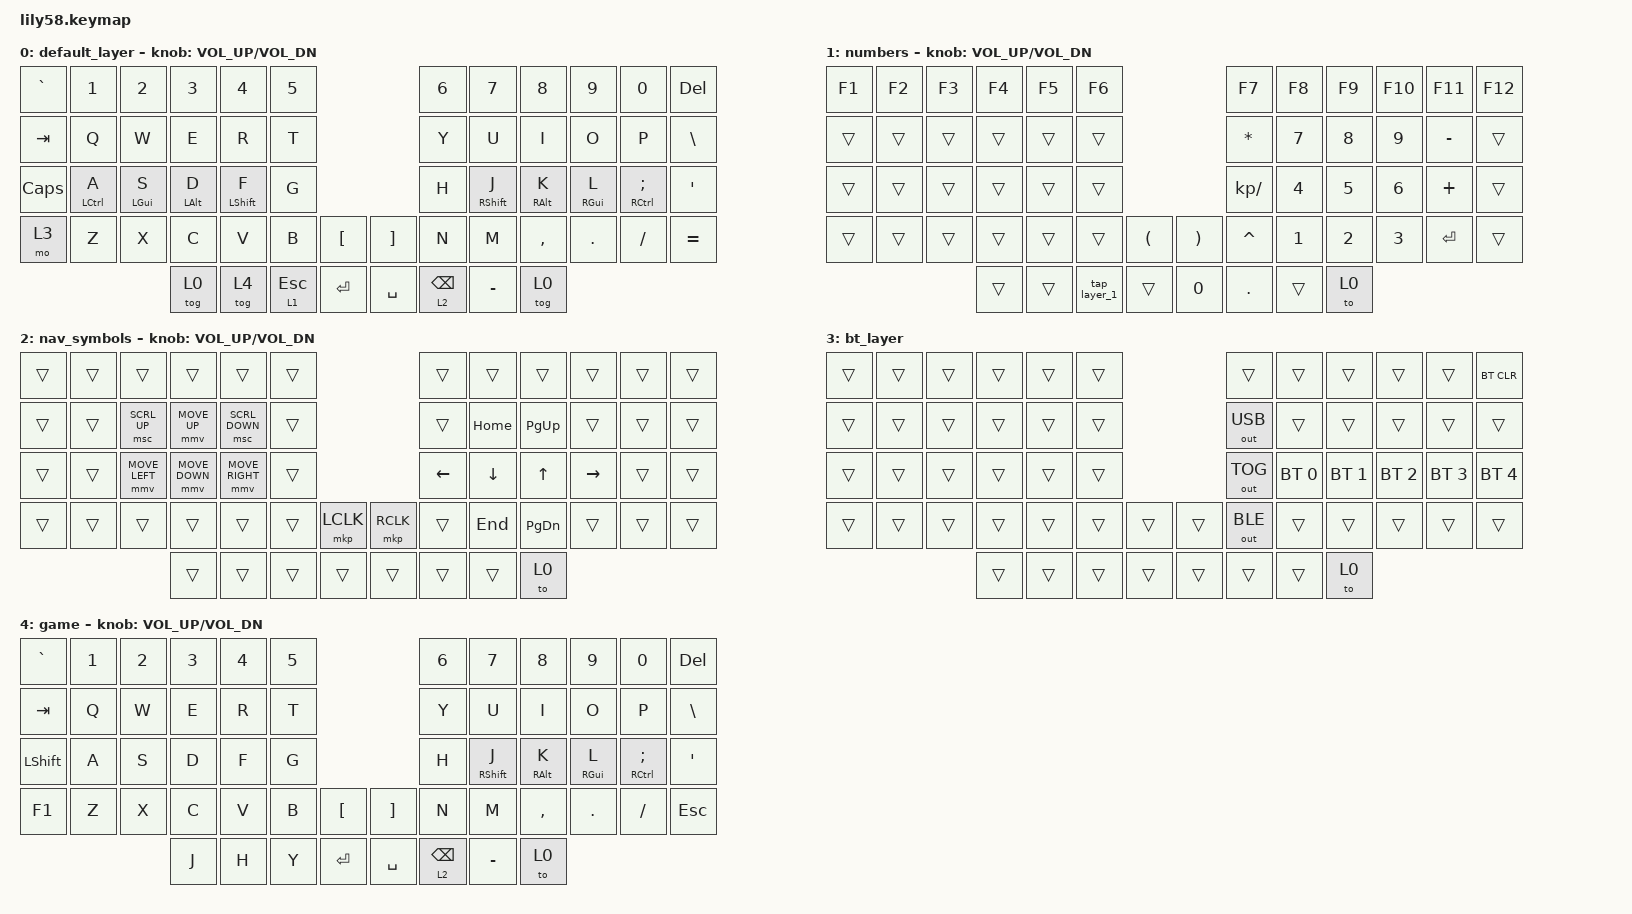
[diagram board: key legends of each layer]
/*
 * Copyright (c) 2020 The ZMK Contributors
 *
 * SPDX-License-Identifier: MIT
 */

#include <dt-bindings/zmk/mouse.h>
#include <dt-bindings/zmk/mouse.h>
#include <behaviors.dtsi>
#include <dt-bindings/zmk/bt.h>
#include <dt-bindings/zmk/keys.h>
#include <dt-bindings/zmk/outputs.h>
#include <dt-bindings/zmk/pointing.h>

&mt {
    flavor = "tap-preferred";
    tapping-term-ms = <150>;
    quick-tap-ms = <0>;
};

/ {
    behaviors {
        tap_layer_2: tap_layer_2 {
            compatible = "zmk,behavior-tap-dance";
            label = "TAP_LAYER_2";
            #binding-cells = <0>;
            bindings = <&sl 2>, <&tog 2>;
        };

        tap_layer_1: tap_layer_1 {
            compatible = "zmk,behavior-tap-dance";
            label = "TAP_LAYER_1";
            #binding-cells = <0>;
            bindings = <&sl 1>, <&tog 1>;
        };

        hm: hm {
            compatible = "zmk,behavior-hold-tap";
            label = "Home row mods for left";
            bindings = <&kp>, <&kp>;

            #binding-cells = <2>;
            tapping-term-ms = <200>;
            flavor = "balanced";
            quick-tap-ms = <0>;
            hold-trigger-key-positions = <48 49 6 7 8 9 10 11 18 19 20 21 22 23 30 31 32 33 34 35 43 44 45 46 47 48 49 54 55 56 57 40 39 38>;
            hold-trigger-on-release;
        };

        hm_right: hm_right {
            compatible = "zmk,behavior-hold-tap";
            label = "Home row mods for right";
            bindings = <&kp>, <&kp>;

            #binding-cells = <2>;
            tapping-term-ms = <200>;
            flavor = "balanced";
            quick-tap-ms = <0>;
            hold-trigger-key-positions = <0 1 2 4 5 12 13 14 15 16 17 24 25 26 27 28 29 36 37 38 39 40 41 42 50 51 52 53 3>;
            hold-trigger-on-release;
        };
    };

    keymap {
        compatible = "zmk,keymap";

        default_layer {
            // ------------------------------------------------------------------------------------------------------------
            // |  ESC  |  1  |  2  |  3   |  4   |  5   |                   |  6   |  7    |  8    |  9   |   0   |   `   |
            // |  TAB  |  Q  |  W  |  E   |  R   |  T   |                   |  Y   |  U    |  I    |  O   |   P   |   -   |
            // |  CTRL |  A  |  S  |  D   |  F   |  G   |                   |  H   |  J    |  K    |  L   |   ;   |   '   |
            // | SHIFT |  Z  |  X  |  C   |  V   |  B   |   "["  |  |  "]"  |  N   |  M    |  ,    |  .   |   /   | SHIFT |
            //                     | ALT  | GUI  | LOWER|  SPACE |  | ENTER | RAISE| BSPC  | GUI   |

            bindings = <
&kp GRAVE     &kp N1       &kp N2          &kp N3          &kp N4            &kp N5                                &kp N6           &kp N7                   &kp N8                 &kp N9                 &kp N0                             &kp DELETE
&kp TAB       &kp Q        &kp W           &kp E           &kp R             &kp T                                 &kp Y            &kp U                    &kp I                  &kp O                  &kp P                              &kp BACKSLASH
&kp CAPSLOCK  &hm LCTRL A  &hm LEFT_GUI S  &hm LEFT_ALT D  &hm LEFT_SHIFT F  &kp G                                 &kp H            &hm_right RIGHT_SHIFT J  &hm_right RIGHT_ALT K  &hm_right RIGHT_GUI L  &hm_right RIGHT_CONTROL SEMICOLON  &kp SQT
&mo 3         &kp Z        &kp X           &kp C           &kp V             &kp B         &kp LBKT     &kp RBKT   &kp N            &kp M                    &kp COMMA              &kp DOT                &kp FSLH                           &kp EQUAL
                                           &tog 0          &tog 4            &lt 1 ESCAPE  &kp ENTER    &kp SPACE  &lt 2 BACKSPACE  &kp MINUS                &tog 0
            >;

            sensor-bindings = <&inc_dec_kp C_VOL_UP C_VOL_DN>;
        };

        numbers {
            // ------------------------------------------------------------------------------------------------------------
            // | BTCLR | BT1 | BT2 |  BT3 |  BT4 |  BT5 |                   |      |       |       |      |       |       |
            // |  F1   |  F2 |  F3 |  F4  |  F5  |  F6  |                   |  F7  |  F8   |  F9   |  F10 |  F11  |  F12  |
            // |   `   |  !  |  @  |  #   |  $   |  %   |                   |  ^   |  &    |  *    |  (   |   )   |   ~   |
            // |       |     |     |      |      |      |        |  |       |      |  _    |  +    |  {   |   }   |  "|"  |
            //                     |      |      |      |        |  |       |      |       |       |

            bindings = <
&kp F1  &kp F2  &kp F3  &kp F4  &kp F5  &kp F6                                                       &kp F7         &kp F8        &kp F9        &kp F10       &kp F11    &kp F12
&trans  &trans  &trans  &trans  &trans  &trans                                                       &kp STAR       &kp N7        &kp N8        &kp N9        &kp MINUS  &trans
&trans  &trans  &trans  &trans  &trans  &trans                                                       &kp KP_DIVIDE  &kp NUMBER_4  &kp N5        &kp N6        &kp PLUS   &trans
&trans  &trans  &trans  &trans  &trans  &trans        &kp LEFT_PARENTHESIS    &kp RIGHT_PARENTHESIS  &kp CARET      &kp NUMBER_1  &kp NUMBER_2  &kp NUMBER_3  &kp ENTER  &trans
                        &trans  &trans  &tap_layer_1  &trans                  &kp N0                 &kp PERIOD     &trans        &to 0
            >;

            sensor-bindings = <&inc_dec_kp C_VOL_UP C_VOL_DN>;
        };

        nav_symbols {
            // ------------------------------------------------------------------------------------------------------------
            // |       |     |     |      |      |      |                   |      |       |       |      |       |       |
            // |   `   |  1  |  2  |  3   |  4   |  5   |                   |  6   |   7   |   8   |  9   |   0   |       |
            // |   F1  |  F2 |  F3 |  F4  |  F5  |  F6  |                   |      |   <-  |   v   |  ^   |  ->   |       |
            // |   F7  |  F8 |  F9 |  F10 |  F11 |  F12 |        |  |       |  +   |   -   |   =   |  [   |   ]   |   \   |
            //                     |      |      |      |        |  |       |      |       |       |

            bindings = <
&trans  &trans  &trans          &trans          &trans           &trans                          &trans    &trans    &trans         &trans     &trans  &trans
&trans  &trans  &msc SCRL_UP    &mmv MOVE_UP    &msc SCRL_DOWN   &trans                          &trans    &kp HOME  &kp PAGE_UP    &trans     &trans  &trans
&trans  &trans  &mmv MOVE_LEFT  &mmv MOVE_DOWN  &mmv MOVE_RIGHT  &trans                          &kp LEFT  &kp DOWN  &kp UP_ARROW   &kp RIGHT  &trans  &trans
&trans  &trans  &trans          &trans          &trans           &trans  &mkp LCLK    &mkp RCLK  &trans    &kp END   &kp PAGE_DOWN  &trans     &trans  &trans
                                &trans          &trans           &trans  &trans       &trans     &trans    &trans    &to 0
            >;

            sensor-bindings = <&inc_dec_kp C_VOL_UP C_VOL_DN>;
        };

        bt_layer {
            bindings = <
&trans  &trans  &trans  &trans  &trans  &trans                    &trans        &trans        &trans        &trans        &trans        &bt BT_CLR
&trans  &trans  &trans  &trans  &trans  &trans                    &out OUT_USB  &trans        &trans        &trans        &trans        &trans
&trans  &trans  &trans  &trans  &trans  &trans                    &out OUT_TOG  &bt BT_SEL 0  &bt BT_SEL 1  &bt BT_SEL 2  &bt BT_SEL 3  &bt BT_SEL 4
&trans  &trans  &trans  &trans  &trans  &trans  &trans    &trans  &out OUT_BLE  &trans        &trans        &trans        &trans        &trans
                        &trans  &trans  &trans  &trans    &trans  &trans        &trans        &to 0
            >;
        };

        game {
            bindings = <
&kp GRAVE       &kp N1  &kp N2  &kp N3  &kp N4  &kp N5                          &kp N6           &kp N7                   &kp N8                 &kp N9                 &kp N0                             &kp DELETE
&kp TAB         &kp Q   &kp W   &kp E   &kp R   &kp T                           &kp Y            &kp U                    &kp I                  &kp O                  &kp P                              &kp BACKSLASH
&kp LEFT_SHIFT  &kp A   &kp S   &kp D   &kp F   &kp G                           &kp H            &hm_right RIGHT_SHIFT J  &hm_right RIGHT_ALT K  &hm_right RIGHT_GUI L  &hm_right RIGHT_CONTROL SEMICOLON  &kp SQT
&kp F1          &kp Z   &kp X   &kp C   &kp V   &kp B   &kp LBKT     &kp RBKT   &kp N            &kp M                    &kp COMMA              &kp DOT                &kp FSLH                           &kp ESCAPE
                                &kp J   &kp H   &kp Y   &kp ENTER    &kp SPACE  &lt 2 BACKSPACE  &kp MINUS                &to 0
            >;

            sensor-bindings = <&inc_dec_kp C_VOL_UP C_VOL_DN>;
        };
    };
};
